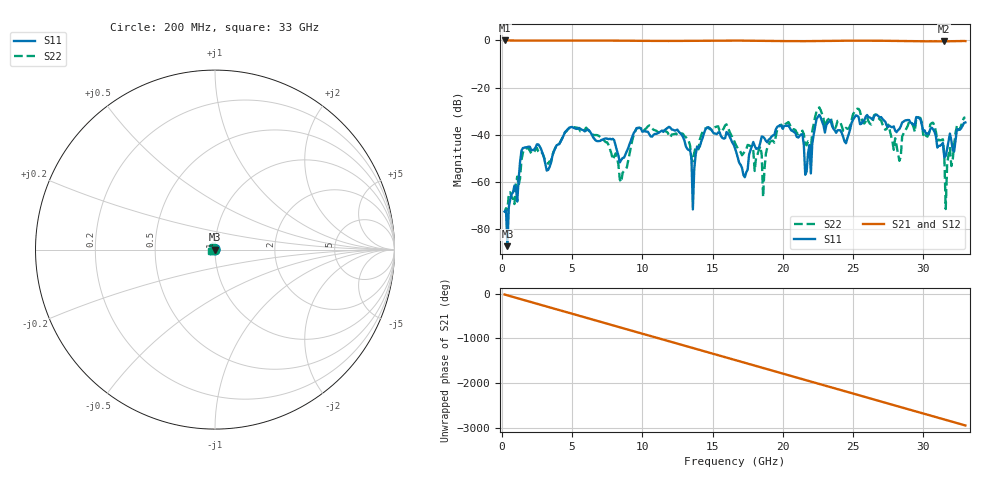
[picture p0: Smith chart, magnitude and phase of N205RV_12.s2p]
# GHZ S RI R 50
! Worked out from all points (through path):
!   329 points, 200 MHz to 33 GHz, reference 50 ohm
!   highest |S21| = -0.02 dB at 200 MHz (marker M1); lowest = -0.4 dB at 31.5 GHz (marker M2)
!   group delay of S21, straight-line fit = 248 ps
!   lowest |S11| = -87.2 dB at 400 MHz (marker M3), VSWR 1.00, Z = 50 + j0.00438 ohm
!   |S11| at or under -10 dB: start of sweep to end of sweep
!   |S22| runs from -72.9 to -28.4 dB; largest |S21 - S12| = 0.0019
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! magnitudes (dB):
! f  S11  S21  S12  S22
! 200 MHz  -72.5  0.0  0.0  -72.9
! 400 MHz  -87.2  0.0  0.0  -71.9
! 1.5 GHz  -45.6  -0.1  -0.1  -47.6
! 5.7 GHz  -37.8  -0.1  -0.1  -38.5
! 8.5 GHz  -50.7  -0.1  -0.1  -60.1
! 11.2 GHz  -39.0  -0.2  -0.2  -39.2
! 13.4 GHz  -46.4  -0.2  -0.2  -44.5
! 13.6 GHz  -71.6  -0.2  -0.2  -51.3
! 13.8 GHz  -48.5  -0.2  -0.2  -45.2
! 14.5 GHz  -37.7  -0.1  -0.1  -37.3
! 16.6 GHz  -45.7  -0.1  -0.1  -43.5
! 18.4 GHz  -43.4  -0.2  -0.2  -44.9
! 18.6 GHz  -40.9  -0.2  -0.2  -66.3
! 19.8 GHz  -35.9  -0.3  -0.3  -36.0
! 21.4 GHz  -39.7  -0.3  -0.3  -38.2
! 21.6 GHz  -56.9  -0.3  -0.3  -43.7
! 22.1 GHz  -43.8  -0.3  -0.3  -38.4
! 27.6 GHz  -36.2  -0.2  -0.2  -37.7
! 31.5 GHz  -49.6  -0.4  -0.4  -49.1
! 31.6 GHz  -48.9  -0.4  -0.4  -71.5
! 31.8 GHz  -42.6  -0.4  -0.4  -48.3
! 33 GHz  -34.8  -0.3  -0.3  -32.6
